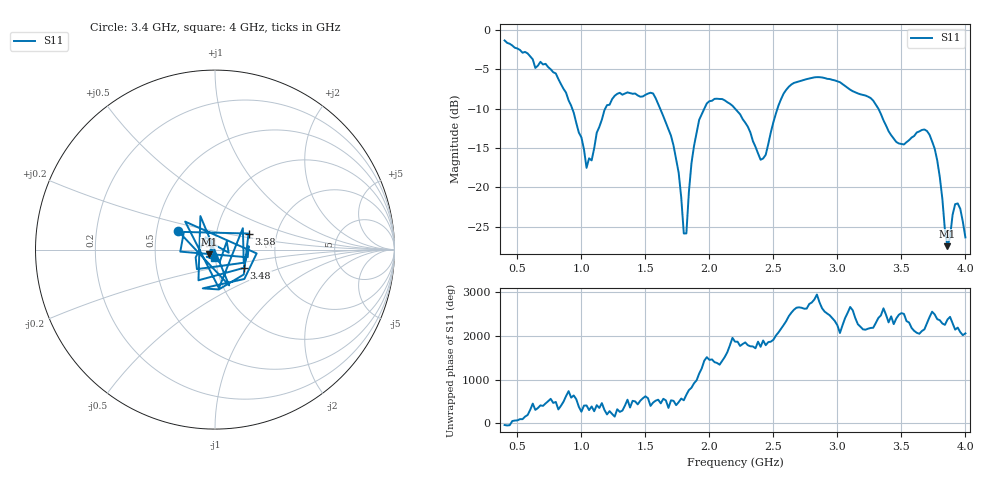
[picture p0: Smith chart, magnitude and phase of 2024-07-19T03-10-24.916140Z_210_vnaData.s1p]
!Created with skrf (http://scikit-rf.org).
# Hz S RI R 50.0
!freq ReS11 ImS11
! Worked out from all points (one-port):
!   181 points, 400 MHz to 4 GHz, reference 50 ohm
!   lowest |S11| = -27.4 dB at 3.86 GHz (marker M1), VSWR 1.09, Z = 46.7 - j2.49 ohm
!   |S11| at or under -10 dB: 1.615 GHz to 1.961 GHz (345.7 MHz wide, 19.3 % of centre); 2.2 GHz to 2.532 GHz (332.1 MHz wide, 14 % of centre); 3.32 GHz to end of sweep (the widest 3 of 4)
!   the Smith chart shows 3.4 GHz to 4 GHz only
!   S11 on the Smith chart (normalised r, x): 3.4 GHz: 0.65, +0.14; 3.48 GHz: 1.35, -0.29; 3.58 GHz: 1.43, +0.27; 4 GHz: 0.98, -0.09
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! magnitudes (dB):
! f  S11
! 400 MHz  -1.4
! 860 MHz  -7.5
! 1.04 GHz  -17.5
! 1.18 GHz  -10.2
! 1.3 GHz  -8.0
! 1.56 GHz  -8.1
! 1.7 GHz  -13.4
! 1.76 GHz  -18.1
! 1.8 GHz  -25.8
! 1.82 GHz  -25.8
! 1.86 GHz  -16.9
! 1.92 GHz  -11.4
! 2.04 GHz  -8.8
! 2.2 GHz  -10.0
! 2.4 GHz  -16.5
! 2.56 GHz  -8.8
! 2.66 GHz  -6.7
! 3.1 GHz  -7.6
! 3.28 GHz  -9.0
! 3.4 GHz  -12.9
! 3.48 GHz  -14.4
! 3.56 GHz  -14.0
! 3.58 GHz  -13.7
! 3.68 GHz  -12.7
! 3.76 GHz  -15.1
! 3.86 GHz  -27.4
! 3.92 GHz  -22.1
! 4 GHz  -26.3
